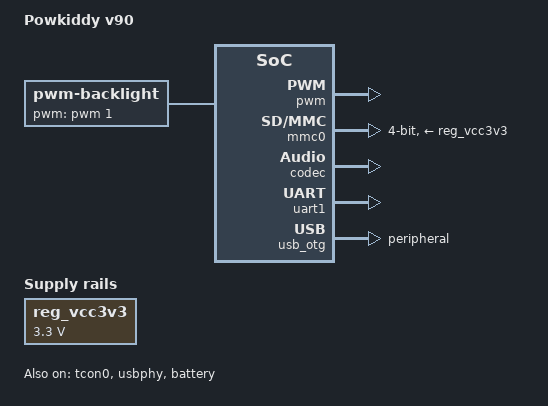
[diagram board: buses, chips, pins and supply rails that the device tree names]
// SPDX-License-Identifier: (GPL-2.0+ OR X11)
/*
 * Copyright 2018 Icenowy Zheng <icenowy@aosc.io>
 * Copyright 2021 Samuel Dionne-Riel <samuel@dionne-riel.com>
 */

/dts-v1/;
#include "suniv-f1c100s.dtsi"

#include <dt-bindings/gpio/gpio.h>
#include <dt-bindings/input/input.h>

#define BUTTON(name, key, bank, pin) btn_##name { \
		label = #name; \
		linux,code = <key>; \
		gpios = <&pio bank pin GPIO_ACTIVE_LOW>; \
	}

/ {
	model = "Powkiddy v90";
	compatible = "powkiddy,powkiddy-v90", "allwinner,suniv-f1c100s",
		     "allwinner,suniv";

	aliases {
		serial1 = &uart1;
	};

	chosen {
		stdout-path = "serial1:115200n8";
	};

	backlight: backlight {
		compatible = "pwm-backlight";
		pwms = <&pwm 1 58824 0>;
		brightness-levels = <0 10 20 30 40 50 60 70 80 90 100>;
		default-brightness-level = <5>;
		status = "okay";
	};

	/* 0x01c23400 is actually the LRADC; co-opted to detect battery voltage. */
	battery: battery@1c23400 {
		 compatible = "miyoo,battery";
		 reg = <0x01c23400 0x400>;
		 status = "okay";
	 };

	reg_vcc3v3: vcc3v3 {
		compatible = "regulator-fixed";
		regulator-name = "vcc3v3";
		regulator-min-microvolt = <3300000>;
		regulator-max-microvolt = <3300000>;
	};

	gpio_keys {
		status = "okay";

		compatible = "gpio-keys-polled";
		poll-interval = <30>;
		autorepeat;

		BUTTON(start,   KEY_ENTER,     4,  0); /* PE0 */
		BUTTON(select,  KEY_ESC,       3,  0); /* PD0 */
		BUTTON(suspend, KEY_RIGHTCTRL, 4,  1); /* PE1 */

		BUTTON(up,      KEY_UP,        4,  2); /* PE2 */
		BUTTON(down,    KEY_DOWN,      4,  3); /* PE3 */
		BUTTON(left,    KEY_LEFT,      4,  4); /* PE4 */
		BUTTON(right,   KEY_RIGHT,     4,  5); /* PE5 */

		BUTTON(a,       KEY_LEFTCTRL,  4,  9); /* PE9 */
		BUTTON(b,       KEY_LEFTALT,   4,  7); /* PE7 */
		BUTTON(x,       KEY_SPACE,     3,  9); /* PD9 */
		BUTTON(y,       KEY_LEFTSHIFT, 4,  8); /* PE8 */

		BUTTON(l1,      KEY_TAB,       2,  1); /* PC1 */
		BUTTON(r1,      KEY_BACKSPACE, 2,  2); /* PC2 */
		BUTTON(l2,      KEY_PAGEUP,    2,  3); /* PC3 */
		BUTTON(r2,      KEY_PAGEDOWN,  0,  1); /* PA1 */
	};
};

// XXX not actually tcon0, but compatible data for clocks for miyoo st7789s vendor driver.
&tcon0 {
	backlight = <&backlight>;
	compatible = "miyoo,st7789s";
	status = "okay";
};

&pwm {
	pinctrl-names = "default";
	pinctrl-0 = <&pwm1_pins_a>;
	status = "okay";
};

&mmc0 {
	vmmc-supply = <&reg_vcc3v3>;
	bus-width = <4>;
	broken-cd;
	status = "okay";
};

&codec {
	allwinner,audio-routing =
		"Headphone", "HP",
		"Headphone", "HPCOM",
		"MIC", "Mic";
	status = "okay";
};

&uart1 {
	pinctrl-names = "default";
	pinctrl-0 = <&uart1_pa_pins>;
	status = "okay";
};

&otg_sram {
	status = "okay";
};

&usb_otg {
	dr_mode = "peripheral";
	status = "okay";
};

&usbphy {
	status = "okay";
};
